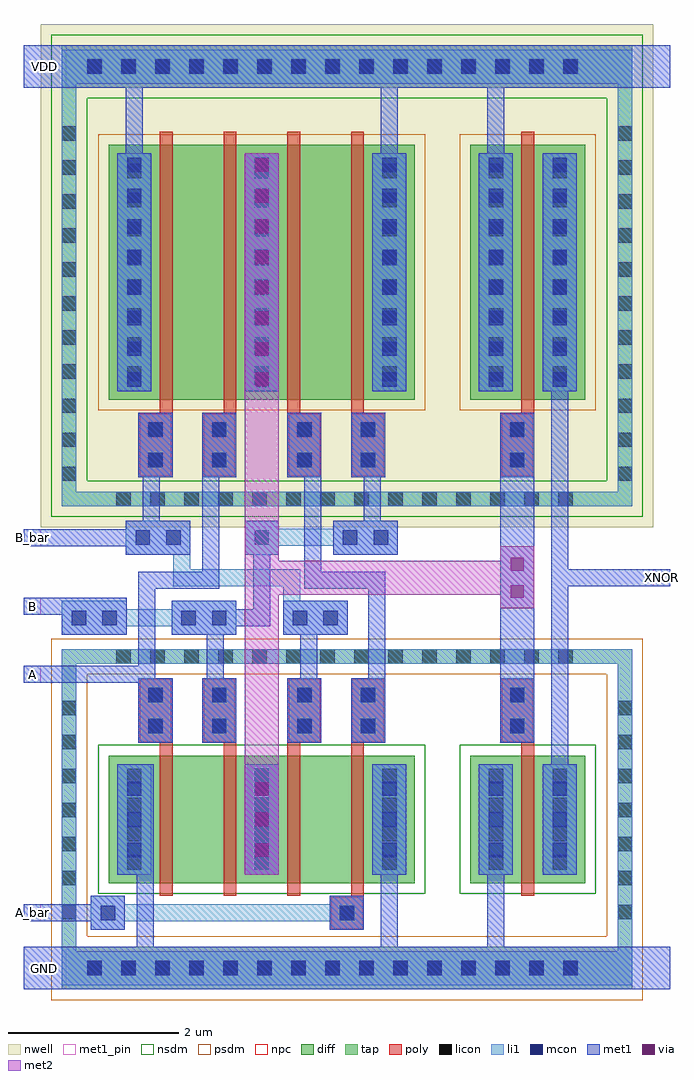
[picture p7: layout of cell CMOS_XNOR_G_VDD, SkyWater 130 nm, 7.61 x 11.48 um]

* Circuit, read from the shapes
.subckt CMOS_XNOR_G_VDD A A_bar B B_bar GND VDD XNOR
XM1 n1 A GND GND sky130_fd_pr__nfet_01v8 w=1.5 l=0.15
XM2 n2 B n1 GND sky130_fd_pr__nfet_01v8 w=1.5 l=0.15
XM3 n3 B_bar n2 GND sky130_fd_pr__nfet_01v8 w=1.5 l=0.15
XM4 GND A_bar n3 GND sky130_fd_pr__nfet_01v8 w=1.5 l=0.15
XM5 XNOR n2 GND GND sky130_fd_pr__nfet_01v8 w=1.5 l=0.15
XM6 n4 B_bar VDD VDD sky130_fd_pr__pfet_01v8 w=3 l=0.15
XM7 n2 A n4 VDD sky130_fd_pr__pfet_01v8 w=3 l=0.15
XM8 n5 A_bar n2 VDD sky130_fd_pr__pfet_01v8 w=3 l=0.15
XM9 VDD B n5 VDD sky130_fd_pr__pfet_01v8 w=3 l=0.15
XM10 XNOR n2 VDD VDD sky130_fd_pr__pfet_01v8 w=3 l=0.15
.ends

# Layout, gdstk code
import gdstk
lib = gdstk.Library(unit=1e-6, precision=1e-09)
def R(c, l, rs):  # rectangles x0, y0, x1, y1
    for r in rs: c.add(gdstk.rectangle(r[:2], r[2:], *l))
def A(c, l, x, y, w, h, nx, ny, dx, dy):  # array of equal rectangles
    R(c, l, [(x+i*dx, y+j*dy, x+i*dx+w, y+j*dy+h) for i in range(nx) for j in range(ny)])
nwell = (64, 20)
diff = (65, 20)
tap = (65, 44)
poly = (66, 20)
licon = (66, 44)
li1 = (67, 20)
mcon = (67, 44)
met1_pin = (68, 16)
met1 = (68, 20)
via = (68, 44)
met2 = (69, 20)
nsdm = (93, 44)
psdm = (94, 20)
npc = (95, 20)

cmos_xnor_g_vdd = lib.new_cell('CMOS_XNOR_G_VDD')
R(cmos_xnor_g_vdd, nwell, [(0.2,5.56,7.405,11.48)])
R(cmos_xnor_g_vdd, diff, [(1,1.375,4.6,2.875), (5.255,1.375,6.605,2.875), (1,7.06,4.6,10.06), (5.255,7.06,6.605,10.06)])
R(cmos_xnor_g_vdd, tap, [(0.45,0.125,7.155,0.625), (0.45,0.625,0.62,3.955), (6.985,0.625,7.155,3.955), (0.45,3.955,7.155,4.125), (0.45,5.81,7.155,5.98), (0.45,5.98,0.62,10.73), (6.985,5.98,7.155,10.73), (0.45,10.73,7.155,11.23)])
A(cmos_xnor_g_vdd, poly, 1.6, 1.225, 0.15, 1.8, 4, 1, 0.75, 0)
A(cmos_xnor_g_vdd, poly, 1.6, 6.91, 0.15, 3.3, 4, 1, 0.75, 0)
R(cmos_xnor_g_vdd, poly, [(3.6,0.825,4,1.225), (5.855,1.225,6.005,3.025), (1.35,3.025,1.75,3.785), (2.1,3.025,2.5,3.785), (3.1,3.025,3.5,3.785), (3.85,3.025,4.25,3.785), (5.605,3.025,6.005,3.785), (1.35,6.15,1.75,6.91), (2.1,6.15,2.5,6.91), (3.1,6.15,3.5,6.91), (3.85,6.15,4.25,6.91), (5.605,6.15,6.005,6.91), (5.855,6.91,6.005,10.21)])
A(cmos_xnor_g_vdd, licon, 0.745, 0.29, 0.17, 0.17, 15, 2, 0.4, 10.605)
A(cmos_xnor_g_vdd, licon, 0.45, 0.95, 0.17, 0.17, 1, 7, 0, 0.4)
A(cmos_xnor_g_vdd, licon, 6.985, 0.95, 0.17, 0.17, 1, 7, 0, 0.4)
A(cmos_xnor_g_vdd, licon, 1.215, 1.53, 0.17, 0.17, 3, 4, 1.5, 0.34)
A(cmos_xnor_g_vdd, licon, 5.47, 1.53, 0.17, 0.17, 1, 4, 0, 0.34)
A(cmos_xnor_g_vdd, licon, 6.22, 1.53, 0.17, 0.17, 1, 4, 0, 0.34)
A(cmos_xnor_g_vdd, licon, 1.09, 3.955, 0.17, 0.17, 14, 2, 0.4, 1.855)
A(cmos_xnor_g_vdd, licon, 0.45, 6.105, 0.17, 0.17, 1, 11, 0, 0.4)
A(cmos_xnor_g_vdd, licon, 6.985, 6.105, 0.17, 0.17, 1, 11, 0, 0.4)
A(cmos_xnor_g_vdd, licon, 1.215, 7.285, 0.17, 0.17, 3, 8, 1.5, 0.34)
A(cmos_xnor_g_vdd, licon, 5.47, 7.285, 0.17, 0.17, 1, 8, 0, 0.34)
A(cmos_xnor_g_vdd, licon, 6.22, 7.285, 0.17, 0.17, 1, 8, 0, 0.34)
R(cmos_xnor_g_vdd, licon, [(3.715,0.94,3.885,1.11), (1.465,3.14,1.635,3.31), (2.215,3.14,2.385,3.31), (3.215,3.14,3.385,3.31), (3.965,3.14,4.135,3.31), (5.72,3.14,5.89,3.31), (1.465,3.5,1.635,3.67), (2.215,3.5,2.385,3.67), (3.215,3.5,3.385,3.67), (3.965,3.5,4.135,3.67), (5.72,3.5,5.89,3.67), (1.465,6.265,1.635,6.435), (2.215,6.265,2.385,6.435), (3.215,6.265,3.385,6.435), (3.965,6.265,4.135,6.435), (5.72,6.265,5.89,6.435), (1.465,6.625,1.635,6.795), (2.215,6.625,2.385,6.795), (3.215,6.625,3.385,6.795), (3.965,6.625,4.135,6.795), (5.72,6.625,5.89,6.795)])
A(cmos_xnor_g_vdd, li1, 1.1, 1.475, 0.4, 1.3, 3, 1, 1.5, 0)
A(cmos_xnor_g_vdd, li1, 1.1, 7.16, 0.4, 2.8, 3, 1, 1.5, 0)
R(cmos_xnor_g_vdd, li1, [(0.45,0.175,7.155,0.575), (0.45,0.575,0.62,3.955), (6.985,0.575,7.155,3.955), (0.79,0.825,1.19,0.925), (3.6,0.825,4,0.925), (0.79,0.925,4,1.125), (0.79,1.125,1.19,1.225), (3.6,1.125,4,1.225), (5.355,1.475,5.755,2.775), (6.105,1.475,6.505,2.775), (1.35,3.025,1.75,3.785), (2.1,3.025,2.5,3.785), (3.1,3.025,3.5,3.785), (3.85,3.025,4.25,3.785), (5.605,3.025,6.005,3.785), (0.45,3.955,7.155,4.125), (0.45,4.295,1.21,4.395), (1.74,4.295,2.5,4.395), (3.05,4.295,3.81,4.695), (0.45,4.395,2.5,4.595), (0.45,4.595,1.21,4.695), (1.74,4.595,2.5,4.695), (3.05,4.695,3.25,4.865), (1.76,4.865,3.25,5.065), (1.76,5.065,1.96,5.24), (1.2,5.24,1.96,5.64), (2.6,5.24,3,5.345), (3.64,5.24,4.4,5.345), (2.6,5.345,4.4,5.545), (2.6,5.545,3,5.64), (3.64,5.545,4.4,5.64), (0.45,5.81,7.155,5.98), (0.45,5.98,0.62,10.78), (6.985,5.98,7.155,10.78), (1.35,6.15,1.75,6.91), (2.1,6.15,2.5,6.91), (3.1,6.15,3.5,6.91), (3.85,6.15,4.25,6.91), (5.605,6.15,6.005,6.91), (5.355,7.16,5.755,9.96), (6.105,7.16,6.505,9.96), (0.45,10.78,7.155,11.18)])
A(cmos_xnor_g_vdd, mcon, 0.745, 0.29, 0.17, 0.17, 15, 2, 0.4, 10.605)
A(cmos_xnor_g_vdd, mcon, 1.215, 1.68, 0.17, 0.17, 3, 3, 1.5, 0.36)
A(cmos_xnor_g_vdd, mcon, 5.47, 1.68, 0.17, 0.17, 1, 3, 0, 0.36)
A(cmos_xnor_g_vdd, mcon, 6.22, 1.68, 0.17, 0.17, 1, 3, 0, 0.36)
A(cmos_xnor_g_vdd, mcon, 1.675, 5.355, 0.17, 0.17, 3, 1, 1.04, 0)
A(cmos_xnor_g_vdd, mcon, 1.215, 7.215, 0.17, 0.17, 3, 8, 1.5, 0.36)
A(cmos_xnor_g_vdd, mcon, 5.47, 7.215, 0.17, 0.17, 1, 8, 0, 0.36)
A(cmos_xnor_g_vdd, mcon, 6.22, 7.215, 0.17, 0.17, 1, 8, 0, 0.36)
R(cmos_xnor_g_vdd, mcon, [(0.905,0.94,1.075,1.11), (3.715,0.94,3.885,1.11), (1.465,3.14,1.635,3.31), (2.215,3.14,2.385,3.31), (3.215,3.14,3.385,3.31), (3.965,3.14,4.135,3.31), (5.72,3.14,5.89,3.31), (1.465,3.5,1.635,3.67), (2.215,3.5,2.385,3.67), (3.215,3.5,3.385,3.67), (3.965,3.5,4.135,3.67), (5.72,3.5,5.89,3.67), (0.565,4.41,0.735,4.58), (0.925,4.41,1.095,4.58), (1.855,4.41,2.025,4.58), (2.215,4.41,2.385,4.58), (3.165,4.41,3.335,4.58), (3.525,4.41,3.695,4.58), (1.315,5.355,1.485,5.525), (4.115,5.355,4.285,5.525), (1.465,6.265,1.635,6.435), (2.215,6.265,2.385,6.435), (3.215,6.265,3.385,6.435), (3.965,6.265,4.135,6.435), (5.72,6.265,5.89,6.435), (1.465,6.625,1.635,6.795), (2.215,6.625,2.385,6.795), (3.215,6.625,3.385,6.795), (3.965,6.625,4.135,6.795), (5.72,6.625,5.89,6.795)])
R(cmos_xnor_g_vdd, met1_pin, [(0,0.125,0.5,0.625), (0,0.925,0.2,1.125), (0,3.73,0.2,3.93), (0,4.53,0.2,4.73), (7.405,4.865,7.605,5.065), (0,5.34,0.2,5.54), (0,10.73,0.5,11.23)])
A(cmos_xnor_g_vdd, met1, 1.1, 7.16, 0.4, 2.8, 3, 1, 1.5, 0)
R(cmos_xnor_g_vdd, met1, [(0,0.125,7.605,0.625), (1.33,0.625,1.53,1.475), (4.2,0.625,4.4,1.475), (5.455,0.625,5.655,1.475), (0.79,0.825,1.19,0.925), (3.6,0.825,4,1.225), (0,0.925,1.19,1.125), (0.79,1.125,1.19,1.225), (1.1,1.475,1.53,2.775), (2.6,1.475,3,2.775), (4.1,1.475,4.5,2.775), (5.355,1.475,5.755,2.775), (6.105,1.475,6.505,2.775), (6.205,2.775,6.405,4.865), (1.35,3.025,1.75,3.73), (2.1,3.025,2.5,3.785), (3.1,3.025,3.5,3.785), (3.85,3.025,4.25,3.785), (5.605,3.025,6.005,6.91), (0,3.73,1.75,3.785), (0,3.785,1.55,3.93), (2.15,3.785,2.35,4.295), (3.25,3.785,3.45,4.295), (4.05,3.785,4.25,4.835), (1.35,3.93,1.55,4.835), (0.45,4.295,1.21,4.53), (1.74,4.295,2.5,4.395), (3.05,4.295,3.81,4.695), (1.74,4.395,2.9,4.595), (0,4.53,1.21,4.73), (1.74,4.595,2.5,4.695), (2.7,4.595,2.9,5.24), (1.35,4.835,2.3,5.035), (3.3,4.835,4.25,5.035), (6.205,4.865,7.605,5.065), (2.1,5.035,2.3,6.15), (3.3,5.035,3.5,6.15), (6.205,5.065,6.405,7.16), (1.2,5.24,1.96,5.34), (2.6,5.24,3,5.64), (3.64,5.24,4.4,5.64), (0,5.34,1.96,5.54), (1.2,5.54,1.96,5.64), (1.4,5.64,1.6,6.15), (4,5.64,4.2,6.15), (1.35,6.15,1.75,6.91), (2.1,6.15,2.5,6.91), (3.1,6.15,3.5,6.91), (3.85,6.15,4.25,6.91), (5.355,7.16,5.755,9.96), (6.105,7.16,6.505,9.96), (1.2,9.96,1.4,10.73), (4.2,9.96,4.4,10.73), (5.455,9.96,5.655,10.73), (0,10.73,7.605,11.23)])
A(cmos_xnor_g_vdd, via, 2.725, 1.69, 0.15, 0.15, 1, 3, 0, 0.36)
A(cmos_xnor_g_vdd, via, 2.725, 7.225, 0.15, 0.15, 1, 8, 0, 0.36)
R(cmos_xnor_g_vdd, via, [(5.73,4.73,5.88,4.88), (5.73,5.05,5.88,5.2)])
R(cmos_xnor_g_vdd, met2, [(2.6,1.475,3,4.765), (5.605,4.605,6.005,4.765), (2.6,4.765,6.005,5.165), (2.6,5.165,3,9.96), (5.605,5.165,6.005,5.335)])
R(cmos_xnor_g_vdd, nsdm, [(0.875,1.25,4.725,3), (5.13,1.25,6.73,3), (0.325,5.685,7.28,6.105), (0.325,6.105,0.745,10.605), (6.86,6.105,7.28,10.605), (0.325,10.605,7.28,11.355)])
R(cmos_xnor_g_vdd, psdm, [(0.325,0,7.28,0.75), (0.325,0.75,0.745,3.83), (6.86,0.75,7.28,3.83), (0.325,3.83,7.28,4.25), (0.875,6.935,4.725,10.185), (5.13,6.935,6.73,10.185)])
R(cmos_xnor_g_vdd, npc, [(3.615,0.84,3.985,1.21), (1.365,3.04,1.735,3.77), (2.115,3.04,2.485,3.77), (3.115,3.04,3.485,3.77), (3.865,3.04,4.235,3.77), (5.62,3.04,5.99,3.77), (1.365,6.165,1.735,6.895), (2.115,6.165,2.485,6.895), (3.115,6.165,3.485,6.895), (3.865,6.165,4.235,6.895), (5.62,6.165,5.99,6.895)])
cmos_xnor_g_vdd.add(gdstk.Label('B_bar', (0.1,5.44), layer=68, texttype=5))
cmos_xnor_g_vdd.add(gdstk.Label('B', (0.1,4.63), layer=68, texttype=5))
cmos_xnor_g_vdd.add(gdstk.Label('A', (0.1,3.83), layer=68, texttype=5))
cmos_xnor_g_vdd.add(gdstk.Label('A_bar', (0.1,1.025), layer=68, texttype=5))
cmos_xnor_g_vdd.add(gdstk.Label('XNOR', (7.505,4.965), layer=68, texttype=5))
cmos_xnor_g_vdd.add(gdstk.Label('VDD', (0.25,10.98), layer=68, texttype=5))
cmos_xnor_g_vdd.add(gdstk.Label('GND', (0.25,0.375), layer=68, texttype=5))

lib.write_gds('CMOS_XNOR_G_VDD.gds')
